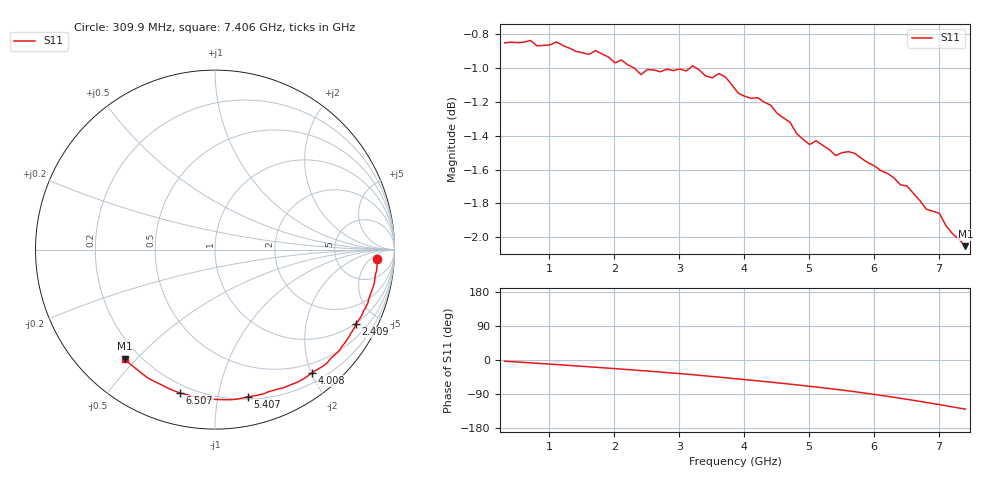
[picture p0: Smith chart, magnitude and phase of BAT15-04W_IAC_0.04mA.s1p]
! Infineon Technologies  Discrete & RF Semiconductors
! BAT15-04W-E6327
! IAC = 0.04 mA
! One-Port S-Parameters
# Hz  S  MA  R  50
!f  S11
!Hz  Mag  Ang
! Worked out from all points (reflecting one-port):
!   72 points, 309.9 MHz to 7.406 GHz, reference 50 ohm
!   lowest |S11| = -2.1 dB at 7.406 GHz (marker M1), VSWR 8.50, Z = 7.16 - j23.1 ohm
!   phase of S11 starts at -3 deg and turns -126 deg over the sweep
!   S11 on the Smith chart (normalised r, x): 309.9 MHz: 15, -9; 2.409 GHz: 0.97, -3.78; 4.008 GHz: 0.34, -2.01; 5.407 GHz: 0.22, -1.22; 6.507 GHz: 0.16, -0.77; 7.406 GHz: 0.14, -0.46
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3.0985e8  0.9068 -3.2
7.0965e8  0.9083 -7.5
1.2094e9  0.9051 -13.2
1.70915e9  0.902 -19.1
2.10895e9  0.8963 -24.0
2.4088e9  0.8874 -28.0
2.50875e9  0.8905 -29.1
3.0085e9  0.8908 -35.9
3.2084e9  0.8928 -38.8
3.50825e9  0.8855 -43.7
3.6082e9  0.888 -45.1
3.90805e9  0.8762 -50.2
4.008e9  0.8744 -51.8
4.2079e9  0.8736 -55.0
4.4078e9  0.8691 -58.5
4.70765e9  0.859 -63.8
4.8076e9  0.8524 -65.6
5.10745e9  0.8483 -71.2
5.4073e9  0.8398 -77.4
5.6072e9  0.842 -81.5
5.70715e9  0.841 -83.8
6.007e9  0.8339 -90.9
6.2069e9  0.8296 -95.9
6.50675e9  0.8226 -103.7
6.6067e9  0.8184 -106.5
7.0065e9  0.8074 -117.6
7.30635e9  0.7932 -126.8
7.4063e9  0.7895 -129.7
